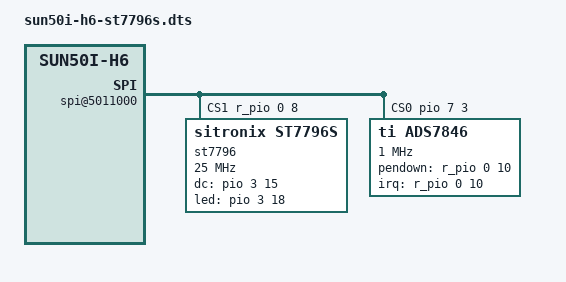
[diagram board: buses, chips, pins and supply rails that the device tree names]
/dts-v1/;
/plugin/;

/ {
    compatible = "allwinner,sun50i-h6";

    fragment@0 {
	target-path = "/soc/spi@5011000";
	__overlay__ {
	    num-cs = <2>;
	    
		/* PH3 PL8 */
		cs-gpios = <&pio 7 3 0>,
			<&r_pio 0 8 0>;
	    status = "okay";
	    #address-cells = <1>;
	    #size-cells = <0>;

	    st7796: st7796s@0{
		compatible = "sitronix,st7796s";
		reg = <1>;
		spi-max-frequency = <25000000>;
		fps = <30>;
		buswidth = <8>;
		//reset-gpios = <&pio 3 16 1>;  /* PD16 - unused */
		dc-gpios = <&pio 3 15 0>;     /* PD15 */
		rotate = <270>;
		debug = <1>;
		led-gpios = <&pio 3 18 0>;
	    };
	};
    };

    fragment@1 {
	target-path = "/soc/spi@5011000";
    __overlay__ {
	#address-cells = <1>;
        #size-cells = <0>;
	status = "okay";
	ads7846@0 {
	    compatible = "ti,ads7846";
	    reg = <0>;
	    status = "okay";
	    spi-max-frequency = <1000000>;
	    interrupts = <0 10 2>; /* high-to-low edge triggered */
		interrupt-parent = <&r_pio>;   /* PL10 */
	    pendown-gpio = <&r_pio 0 10 0>;	    

	    /* driver defaults, optional */

           ti,keep-vref-on = <1>;
           ti,x-min = /bits/ 16 <00>;
           ti,x-max = /bits/ 16 <0xFFF>;
           ti,y-min = /bits/ 16 <00>;
           ti,y-max = /bits/ 16 <0xFFF>;
           ti,x-plate-ohms = /bits/ 16 <60>;
           ti,pressure-max = /bits/ 16 <255>;
            ti,swap-xy = <0>;	};
    };
    };


};
